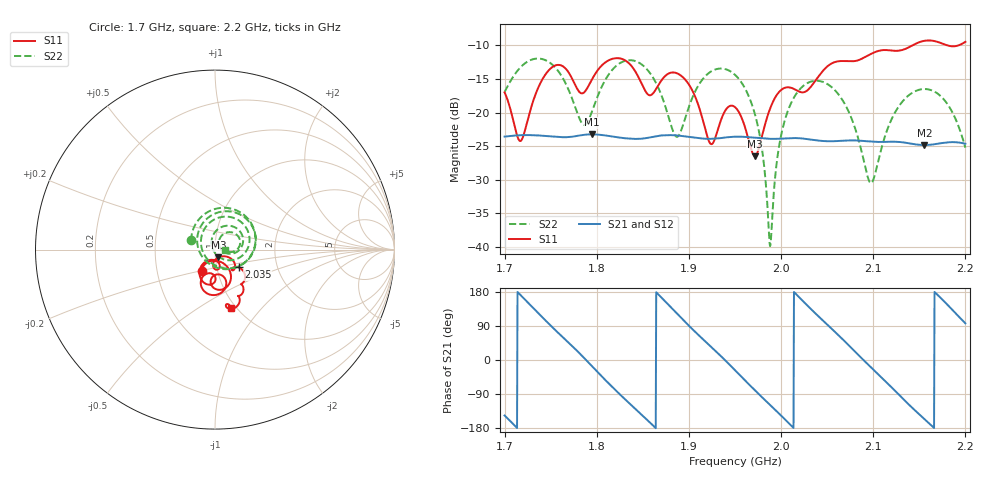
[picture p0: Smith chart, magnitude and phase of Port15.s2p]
# Hz S RI R 50
! CMT, CMT808U, 21440046, 21.4.3/4
! Date: 11/20/2025 11:43:27 PM
! Data: Format (Calibration Info)
! Freq	S11:Re/Im(F2)	S41:Re/Im(F2)	S14:Re/Im(F2)	S44:Re/Im(F2)
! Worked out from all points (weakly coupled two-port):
!   1001 points, 1.7 GHz to 2.2 GHz, reference 50 ohm
!   highest |S21| = -23.24 dB at 1.795 GHz (marker M1); lowest = -24.8 dB at 2.155 GHz (marker M2)
!   lowest |S11| = -26.5 dB at 1.972 GHz (marker M3), VSWR 1.10, Z = 51.8 - j4.49 ohm
!   |S11| at or under -10 dB: start of sweep to 2.143 GHz; 2.18 GHz to 2.193 GHz (12.66 MHz wide, 0.579 % of centre)
!   |S22| runs from -39.9 to -12.0 dB; largest |S21 - S12| = 0.00066
!   S11 on the Smith chart (normalised r, x): 1.7 GHz: 0.84, -0.21; 2.035 GHz: 1.27, -0.26; 2.2 GHz: 0.95, -0.69
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1.7e9  -0.0735 -0.1202  -0.0552 -0.0366  -0.0556 -0.0363  -0.1331 0.0509
1.7175e9  0.0021 -0.0615  -0.067 0.0109  -0.0671 0.0115  -0.0275 0.2161
1.744e9  0.0873 -0.1694  -0.0176 0.0646  -0.0172 0.0649  0.2155 0.1179
1.762e9  0.0121 -0.2228  0.0302 0.0582  0.0307 0.0582  0.175 -0.063
1.7835e9  0.0106 -0.1384  0.0663 0.0144  0.0666 0.014  -0.0388 -0.0746
1.795e9  0.0589 -0.1672  0.0659 -0.02  0.0659 -0.0206  -0.0981 0.0299
1.83e9  -0.049 -0.241  -0.0135 -0.063  -0.014 -0.0631  0.1482 0.1906
1.867e9  0.003 -0.1604  -0.0665 0.00858  -0.0666 0.00913  0.1152 -0.0988
1.8875e9  -0.0597 -0.1858  -0.0347 0.0578  -0.0344 0.0582  -0.0585 -0.0308
1.9235e9  -0.0136 -0.0569  0.0516 0.0374  0.052 0.037  0.0867 0.1813
1.95e9  0.000754 -0.1097  0.059 -0.0299  0.0588 -0.0305  0.189 0.0264
1.9715e9  0.0194 -0.0432  0.0116 -0.064  0.0111 -0.0642  0.0774 -0.0597
1.98e9  0.0586 -0.0379  -0.011 -0.0633  -0.0116 -0.0633  0.0248 -0.0426
1.988e9  0.0924 -0.053  -0.0304 -0.056  -0.031 -0.0558  -0.00869 -0.00523
2.004e9  0.1095 -0.1064  -0.0587 -0.026  -0.0591 -0.0255  -0.00684 0.0871
2.0335e9  0.1261 -0.0973  -0.0419 0.0468  -0.0415 0.0473  0.1281 0.1128
2.035e9  0.1313 -0.0989  -0.0388 0.0491  -0.0383 0.0496  0.1334 0.1079
2.0685e9  0.1495 -0.1892  0.0392 0.0478  0.0396 0.0475  0.1167 -0.0159
2.097e9  0.1587 -0.2204  0.0579 -0.0189  0.0578 -0.0194  0.0278 0.011
2.117e9  0.1334 -0.258  0.0256 -0.0549  0.0252 -0.0553  0.0331 0.073
2.1555e9  0.116 -0.3211  -0.0522 -0.0236  -0.0525 -0.0231  0.1348 0.0648
2.2e9  0.0872 -0.3239  -0.00682 0.0582  -0.00629 0.0583  0.0545 -0.00479
